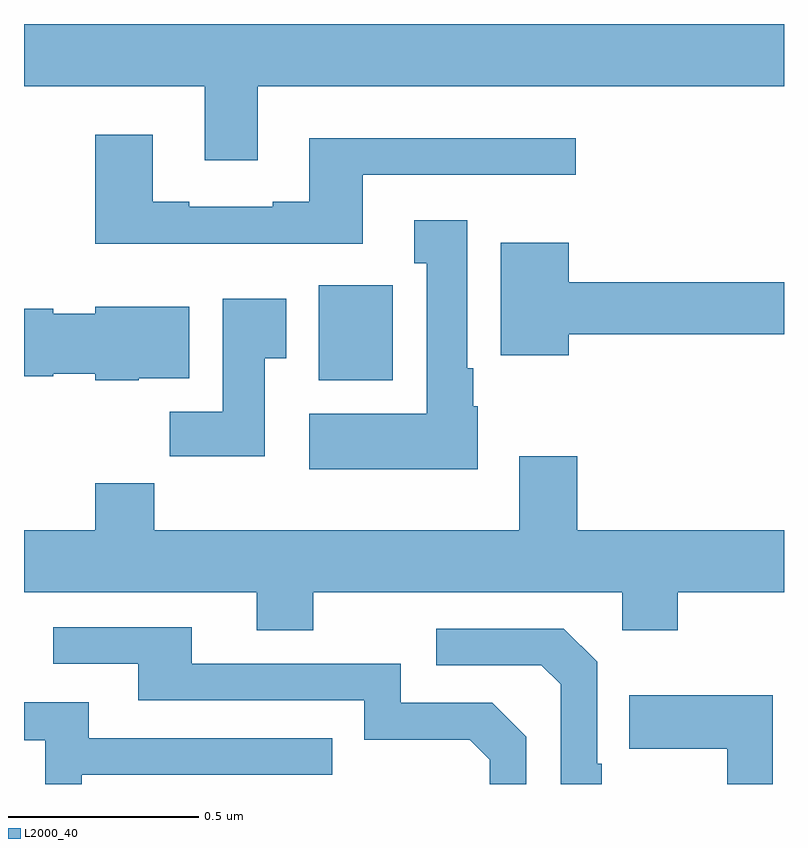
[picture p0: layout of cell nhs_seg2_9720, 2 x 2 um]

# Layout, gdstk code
import gdstk
lib = gdstk.Library(unit=1e-6, precision=1e-09)
def R(c, l, rs):  # rectangles x0, y0, x1, y1
    for r in rs: c.add(gdstk.rectangle(r[:2], r[2:], *l))
def P(c, l, *ps):  # polygons
    for p in ps: c.add(gdstk.Polygon(p, *l))
L2000_40 = (2000, 40)

nhs_seg2_9720 = lib.new_cell('nhs_seg2_9720')
R(nhs_seg2_9720, L2000_40, [(232.775,646.862,232.971,647.113)])
P(nhs_seg2_9720, L2000_40, [(232.615,647.636),(234,647.636),(234,647.8),(232,647.8),(232,647.636),(232.475,647.636),(232.475,647.442),(232.615,647.442)],
  [(232.891,647.403),(233.452,647.403),(233.452,647.5),(232.751,647.5),(232.751,647.332),(232.655,647.332),(232.655,647.319),(232.435,647.319),(232.435,647.332),(232.339,647.332),(232.339,647.509),(232.187,647.509),(232.187,647.222),(232.891,647.222)],
  [(233.194,646.794),(233.182,646.794),(233.182,646.894),(233.167,646.894),(233.167,647.284),(233.027,647.284),(233.027,647.171),(233.06,647.171),(233.06,646.774),(232.751,646.774),(232.751,646.628),(233.194,646.628)],
  [(233.434,646.984),(234,646.984),(234,647.12),(233.434,647.12),(233.434,647.224),(233.255,647.224),(233.255,646.928),(233.434,646.928)],
  [(232.633,646.921),(232.69,646.921),(232.69,647.077),(232.523,647.077),(232.523,646.78),(232.384,646.78),(232.384,646.662),(232.633,646.662)],
  [(232.302,646.868),(232.435,646.868),(232.435,647.056),(232.188,647.056),(232.188,647.038),(232.077,647.038),(232.077,647.051),(232,647.051),(232,646.873),(232.077,646.873),(232.077,646.88),(232.188,646.88),(232.188,646.862),(232.302,646.862)],
  [(232.761,646.304),(233.574,646.304),(233.574,646.205),(233.721,646.205),(233.721,646.304),(234,646.304),(234,646.468),(233.456,646.468),(233.456,646.663),(233.303,646.663),(233.303,646.468),(232.343,646.468),(232.343,646.592),(232.187,646.592),(232.187,646.468),(232,646.468),(232,646.304),(232.613,646.304),(232.613,646.205),(232.761,646.205)],
  [(233.322,645.924),(233.232,646.014),(232.992,646.014),(232.992,646.116),(232.441,646.116),(232.441,646.212),(232.077,646.212),(232.077,646.116),(232.301,646.116),(232.301,646.02),(232.896,646.02),(232.896,645.917),(233.173,645.917),(233.226,645.864),(233.226,645.8),(233.322,645.8)],
  [(233.521,645.853),(233.508,645.853),(233.508,646.122),(233.421,646.209),(233.085,646.209),(233.085,646.113),(233.361,646.113),(233.412,646.062),(233.412,645.8),(233.521,645.8)],
  [(233.971,646.033),(233.593,646.033),(233.593,645.893),(233.85,645.893),(233.85,645.8),(233.971,645.8)],
  [(232.152,645.825),(232.811,645.825),(232.811,645.921),(232.171,645.921),(232.171,646.015),(232,646.015),(232,645.915),(232.056,645.915),(232.056,645.8),(232.152,645.8)])

lib.write_gds('nhs_seg2_9720.gds')
